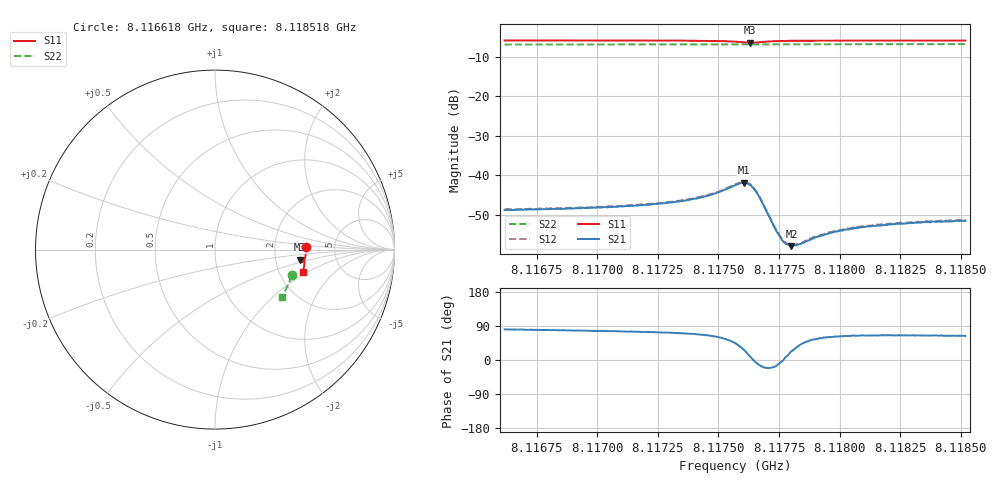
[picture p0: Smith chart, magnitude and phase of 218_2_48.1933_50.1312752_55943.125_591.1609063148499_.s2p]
#  HZ  S  RI  R  50.00
! Rohde & Schwarz Vector Network Analyzer
! Rohde-Schwarz,ZNB20-2Port,1311601062101988,3.16
! Created: UTC 3/20/2024, 11:45:49 AM
! freq[Hz]  re:S11  im:S11  re:S21  im:S21  re:S12  im:S12  re:S22  im:S22
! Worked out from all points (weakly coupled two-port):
!   401 points, 8.116618 GHz to 8.118518 GHz, reference 50 ohm
!   highest |S21| = -41.88 dB at 8.117606 GHz (marker M1); lowest = -57.9 dB at 8.117801 GHz (marker M2)
!   lowest |S11| = -6.5 dB at 8.11763 GHz (marker M3), VSWR 2.81, Z = 137 - j20 ohm
!   |S11| at or under -10 dB: nowhere
!   |S22| runs from -6.9 to -6.8 dB; largest |S21 - S12| = 0.00023
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8.1166177e9  0.5066 0.0123  0.000586 0.0036  0.000647 0.00367  0.4263 -0.1437
8.1169361e9  0.5061 -0.0124  0.000844 0.00374  0.000886 0.00384  0.4197 -0.1647
8.1172545e9  0.5037 -0.0382  0.00128 0.00419  0.00133 0.00424  0.4118 -0.1858
8.1173448e9  0.5022 -0.0461  0.00155 0.00444  0.00162 0.0045  0.4093 -0.1916
8.1174208e9  0.5001 -0.0538  0.00199 0.00479  0.00209 0.0049  0.4073 -0.1965
8.1174921e9  0.496 -0.0617  0.0029 0.00527  0.00297 0.00533  0.4051 -0.2011
8.1175681e9  0.4842 -0.069  0.00533 0.00527  0.00547 0.00531  0.4024 -0.2058
8.1176061e9  0.4739 -0.0651  0.00726 0.00348  0.00744 0.00349  0.4008 -0.2078
8.1176299e9  0.4711 -0.0567  0.00748 0.00125  0.00768 0.00119  0.4001 -0.2089
8.1176441e9  0.4728 -0.0515  0.00688 -3.2e-05  0.007 -0.000103  0.3999 -0.2095
8.1176632e9  0.4781 -0.047  0.00558 -0.0011  0.00566 -0.00113  0.3998 -0.2105
8.1177344e9  0.4941 -0.0521  0.00202 -0.000615  0.00204 -0.000632  0.3983 -0.2152
8.1177629e9  0.4964 -0.0564  0.0015 -6.97e-05  0.00153 -6.68e-05  0.3974 -0.2172
8.117782e9  0.4973 -0.0589  0.00132 0.000232  0.00135 0.000239  0.3969 -0.2185
8.117801e9  0.498 -0.0613  0.00117 0.000489  0.00122 0.000475  0.3963 -0.2195
8.1178342e9  0.4985 -0.0654  0.00104 0.000851  0.00105 0.00087  0.3954 -0.2218
8.1178865e9  0.4989 -0.0709  0.00093 0.00127  0.000953 0.0013  0.3937 -0.2251
8.1179578e9  0.4985 -0.0778  0.000907 0.00162  0.000939 0.00167  0.3914 -0.2296
8.1180243e9  0.4978 -0.0836  0.000923 0.00184  0.00098 0.00191  0.3889 -0.2338
8.1182049e9  0.4953 -0.0983  0.000971 0.00218  0.00104 0.00222  0.3829 -0.2447
8.1183522e9  0.4929 -0.1096  0.0011 0.0023  0.00113 0.00234  0.3776 -0.2537
8.1185185e9  0.4899 -0.1221  0.00118 0.00237  0.00121 0.00243  0.3714 -0.2635
